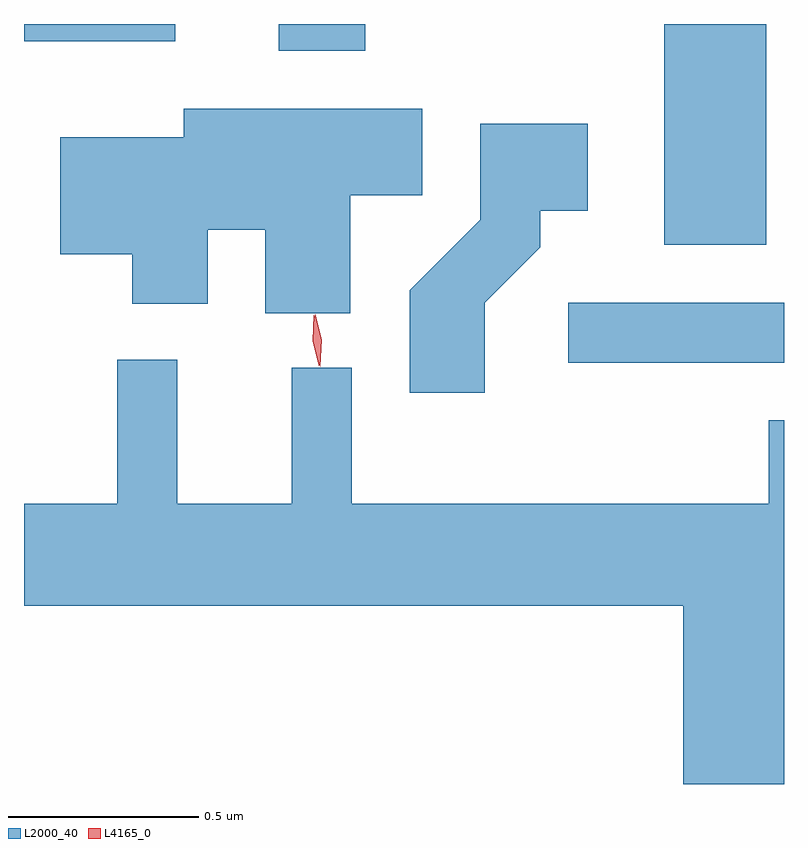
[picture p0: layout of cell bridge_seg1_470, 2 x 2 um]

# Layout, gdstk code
import gdstk
lib = gdstk.Library(unit=1e-6, precision=1e-09)
def R(c, l, rs):  # rectangles x0, y0, x1, y1
    for r in rs: c.add(gdstk.rectangle(r[:2], r[2:], *l))
def P(c, l, *ps):  # polygons
    for p in ps: c.add(gdstk.Polygon(p, *l))
L2000_40 = (2000, 40)
L4165_0 = (4165, 0)

bridge_seg1_470 = lib.new_cell('bridge_seg1_470')
R(bridge_seg1_470, L2000_40, [(352.983,860.256,353.551,860.414), (353.236,860.566,353.504,861.147), (352.221,861.076,352.449,861.147), (351.551,861.101,351.949,861.147)])
P(bridge_seg1_470, L2000_40, [(352.409,860.696),(352.599,860.696),(352.599,860.924),(351.971,860.924),(351.971,860.849),(351.646,860.849),(351.646,860.541),(351.836,860.541),(351.836,860.411),(352.034,860.411),(352.034,860.606),(352.186,860.606),(352.186,860.386),(352.409,860.386)],
  [(352.764,860.414),(352.909,860.559),(352.909,860.656),(353.034,860.656),(353.034,860.884),(352.751,860.884),(352.751,860.632),(352.566,860.447),(352.566,860.176),(352.764,860.176)],
  [(353.551,860.104),(353.511,860.104),(353.511,859.884),(352.414,859.884),(352.414,860.243),(352.256,860.243),(352.256,859.884),(351.954,859.884),(351.954,860.263),(351.796,860.263),(351.796,859.884),(351.551,859.884),(351.551,859.616),(353.286,859.616),(353.286,859.147),(353.551,859.147)])
P(bridge_seg1_470, L4165_0, [(352.327,860.248),(352.327,860.249),(352.311,860.314),(352.314,860.38),(352.314,860.381),(352.315,860.38),(352.331,860.316),(352.328,860.249)],
  [(352.331,860.245),(352.33,860.246),(352.314,860.313),(352.317,860.383),(352.317,860.383),(352.318,860.383),(352.334,860.316),(352.331,860.246)])

lib.write_gds('bridge_seg1_470.gds')
